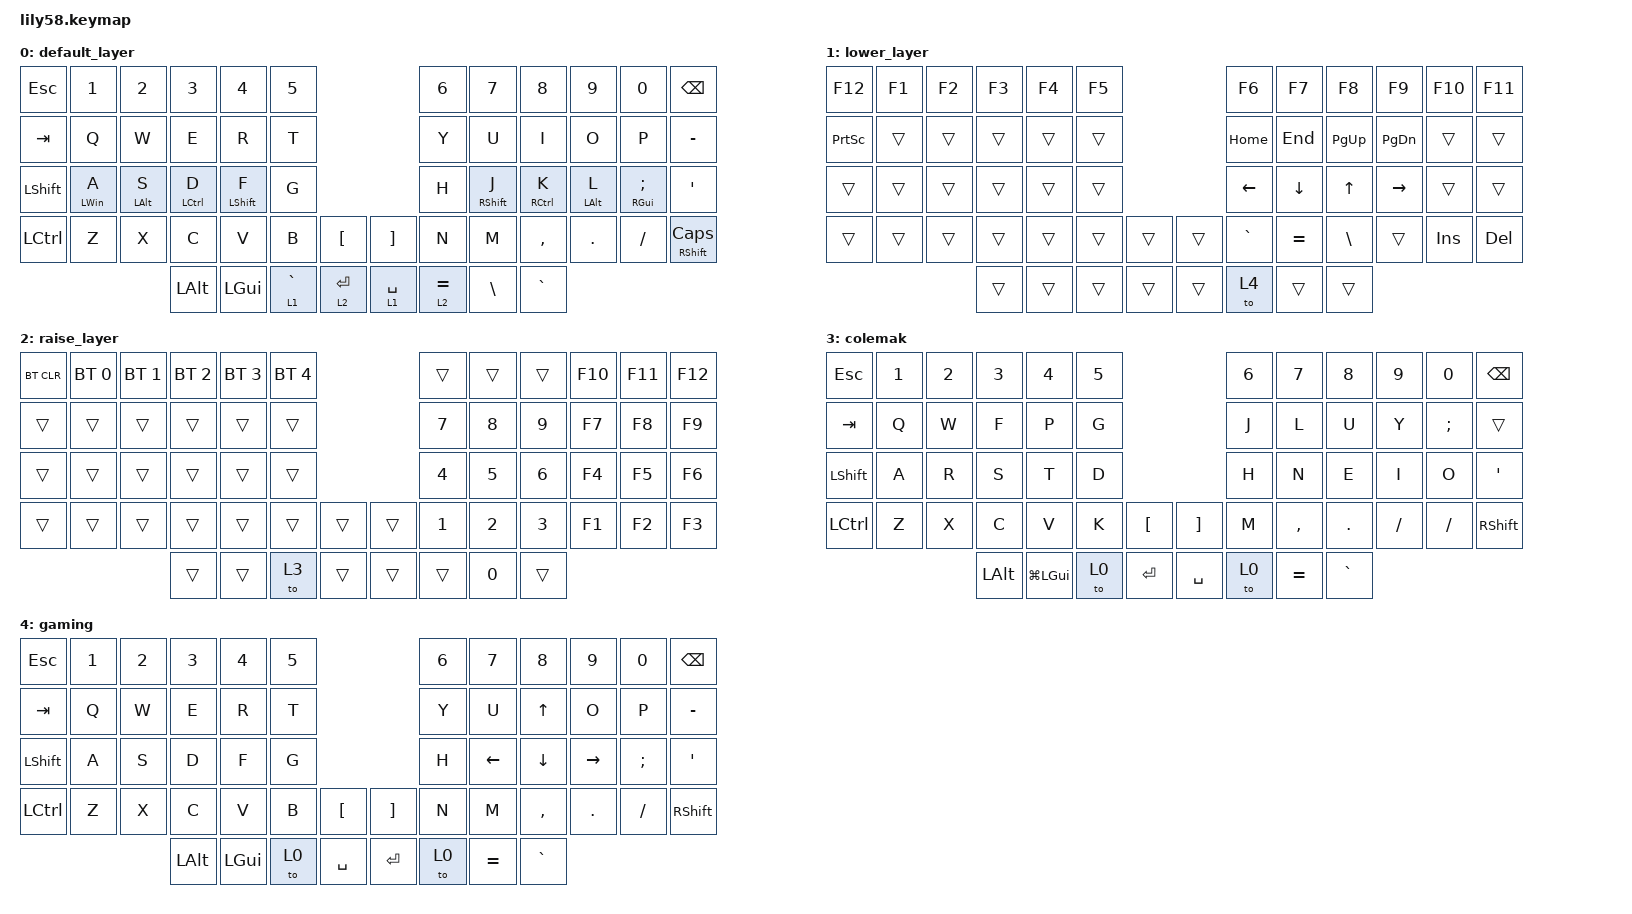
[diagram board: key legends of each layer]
/*
 * Copyright (c) 2020 The ZMK Contributors
 *
 * SPDX-License-Identifier: MIT
 */

#include <behaviors.dtsi>
#include <dt-bindings/zmk/bt.h>
#include <dt-bindings/zmk/keys.h>

/ {
    combos { compatible = "zmk,combos"; };

    behaviors {
        bhm: balanced_homerow_mods {
            compatible = "zmk,behavior-hold-tap";
            #binding-cells = <2>;
            tapping-term-ms = <200>;    // <---[[moderate duration]]
            quick-tap-ms = <0>;
            flavor = "balanced";
            bindings = <&kp>, <&kp>;
        };

        blt: balanced_layer_tap {
            compatible = "zmk,behavior-hold-tap";
            #binding-cells = <2>;
            tapping-term-ms = <200>;    // <---[[moderate duration]]
            quick-tap-ms = <0>;
            flavor = "balanced";
            bindings = <&mo>, <&kp>;
        };
    };

    keymap {
        compatible = "zmk,keymap";

        default_layer {
            bindings = <
&kp ESC           &kp N1           &kp N2           &kp N3        &kp N4             &kp N5                                      &kp N6        &kp N7              &kp N8        &kp N9           &kp N0                    &kp BACKSPACE
&kp TAB           &kp Q            &kp W            &kp E         &kp R              &kp T                                       &kp Y         &kp U               &kp I         &kp O            &kp P                     &kp MINUS
&kp LEFT_SHIFT    &bhm LEFT_WIN A  &bhm LEFT_ALT S  &bhm LCTRL D  &bhm LEFT_SHIFT F  &kp G                                       &kp H         &bhm RIGHT_SHIFT J  &bhm RCTRL K  &bhm LEFT_ALT L  &bhm RIGHT_GUI SEMICOLON  &kp SQT
&kp LEFT_CONTROL  &kp Z            &kp X            &kp C         &kp V              &kp B         &kp LBKT        &kp RBKT      &kp N         &kp M               &kp COMMA     &kp DOT          &kp FSLH                  &mt RIGHT_SHIFT CAPS
                                                    &kp LALT      &kp LGUI           &blt 1 GRAVE  &blt 2 ENTER    &blt 1 SPACE  &blt 2 EQUAL  &kp BACKSLASH       &kp GRAVE
            >;
        };

        lower_layer {
            bindings = <
&kp F12          &kp F1  &kp F2  &kp F3  &kp F4  &kp F5                    &kp F6     &kp F7     &kp F8         &kp F9         &kp F10  &kp F11
&kp PRINTSCREEN  &trans  &trans  &trans  &trans  &trans                    &kp HOME   &kp END    &kp PAGE_UP    &kp PAGE_DOWN  &trans   &trans
&trans           &trans  &trans  &trans  &trans  &trans                    &kp LEFT   &kp DOWN   &kp UP         &kp RIGHT      &trans   &trans
&trans           &trans  &trans  &trans  &trans  &trans  &trans    &trans  &kp GRAVE  &kp EQUAL  &kp BACKSLASH  &trans         &kp INS  &kp DEL
                                 &trans  &trans  &trans  &trans    &trans  &to 4      &trans     &trans
            >;
        };

        raise_layer {
            bindings = <
&bt BT_CLR  &bt BT_SEL 0  &bt BT_SEL 1  &bt BT_SEL 2  &bt BT_SEL 3  &bt BT_SEL 4                    &trans  &trans  &trans  &kp F10  &kp F11  &kp F12
&trans      &trans        &trans        &trans        &trans        &trans                          &kp N7  &kp N8  &kp N9  &kp F7   &kp F8   &kp F9
&trans      &trans        &trans        &trans        &trans        &trans                          &kp N4  &kp N5  &kp N6  &kp F4   &kp F5   &kp F6
&trans      &trans        &trans        &trans        &trans        &trans        &trans    &trans  &kp N1  &kp N2  &kp N3  &kp F1   &kp F2   &kp F3
                                        &trans        &trans        &to 3         &trans    &trans  &trans  &kp N0  &trans
            >;
        };

        colemak {
            bindings = <
&kp ESC           &kp N1  &kp N2  &kp N3    &kp N4        &kp N5                         &kp N6  &kp N7     &kp N8     &kp N9    &kp N0    &kp BSPC
&kp TAB           &kp Q   &kp W   &kp F     &kp P         &kp G                          &kp J   &kp L      &kp U      &kp Y     &kp SEMI  &trans
&kp LEFT_SHIFT    &kp A   &kp R   &kp S     &kp T         &kp D                          &kp H   &kp N      &kp E      &kp I     &kp O     &kp SQT
&kp LEFT_CONTROL  &kp Z   &kp X   &kp C     &kp V         &kp K   &kp LBKT    &kp RBKT   &kp M   &kp COMMA  &kp DOT    &kp FSLH  &kp FSLH  &kp RSHFT
                                  &kp LALT  &kp LG(LGUI)  &to 0   &kp RET     &kp SPACE  &to 0   &kp EQUAL  &kp GRAVE
            >;
        };

        gaming {
            bindings = <
&kp ESC           &kp N1  &kp N2  &kp N3    &kp N4    &kp N5                          &kp N6  &kp N7          &kp N8        &kp N9     &kp N0    &kp BACKSPACE
&kp TAB           &kp Q   &kp W   &kp E     &kp R     &kp T                           &kp Y   &kp U           &kp UP_ARROW  &kp O      &kp P     &kp MINUS
&kp LEFT_SHIFT    &kp A   &kp S   &kp D     &kp F     &kp G                           &kp H   &kp LEFT_ARROW  &kp DOWN      &kp RIGHT  &kp SEMI  &kp SQT
&kp LEFT_CONTROL  &kp Z   &kp X   &kp C     &kp V     &kp B   &kp LBKT     &kp RBKT   &kp N   &kp M           &kp COMMA     &kp DOT    &kp FSLH  &kp RIGHT_SHIFT
                                  &kp LALT  &kp LGUI  &to 0   &kp SPACE    &kp ENTER  &to 0   &kp EQUAL       &kp GRAVE
            >;
        };
    };
};
